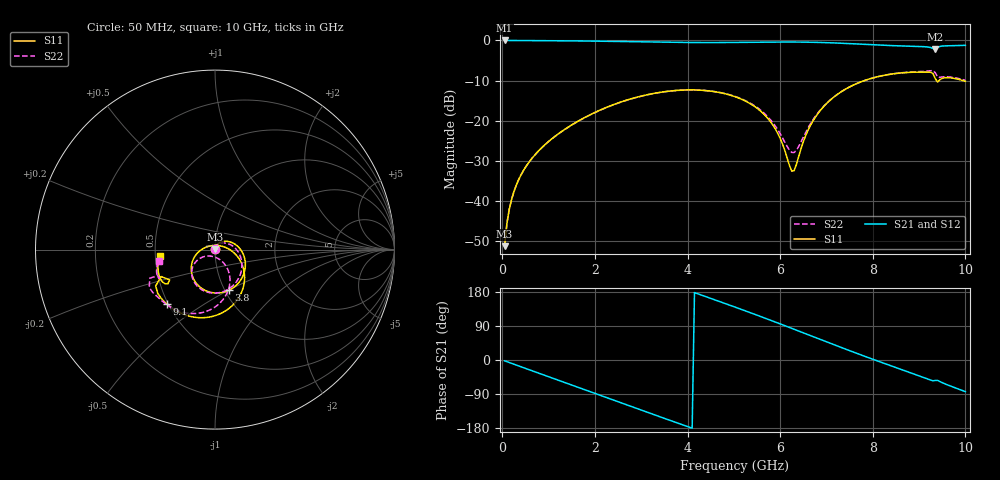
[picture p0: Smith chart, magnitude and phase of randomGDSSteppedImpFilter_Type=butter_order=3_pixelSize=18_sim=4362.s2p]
! freq	dB(S11)	phase(S11)	dB(S12)	phase(S12)
!  dB(S21)	phase(S21)	dB(S22)	phase(S22)
!S-par simulation data
#  GHz  S  DB  R 50
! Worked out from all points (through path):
!   200 points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, 50 MHz to 10 GHz, reference 50 ohm
!   highest |S21| = 0.00 dB at 50 MHz (marker M1); lowest = -2.2 dB at 9.35 GHz (marker M2)
!   group delay of S21, straight-line fit = 124 ps
!   lowest |S11| = -51.2 dB at 50 MHz (marker M3), VSWR 1.01, Z = 50.1 + j0.269 ohm
!   |S11| at or under -10 dB: start of sweep to 7.814 GHz; 9.38 GHz to 9.43 GHz (49.94 MHz wide, 0.531 % of centre); 9.95623 GHz to end of sweep
!   |S22| runs from -51.1 to -7.5 dB; largest |S21 - S12| = 0
!   S11 on the Smith chart (normalised r, x): 50 MHz: 1.00, +0.01; 3.8 GHz: 1.04, -0.50; 9.1 GHz: 0.49, -0.35; 10 GHz: 0.53, -0.04
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0.05  -51.16 76.6  -0.00 -2.2  -0.00 -2.2  -51.10 76.0
0.1  -45.50 80.2  -0.01 -4.5  -0.01 -4.5  -45.48 79.1
0.2  -39.57 79.4  -0.02 -8.9  -0.02 -8.9  -39.57 77.5
0.5  -31.55 69.7  -0.04 -22.1  -0.04 -22.1  -31.57 64.9
1.15  -23.74 44.3  -0.08 -50.8  -0.08 -50.8  -23.77 34.5
1.75  -19.35 19.3  -0.14 -77.3  -0.14 -77.3  -19.39 7.2
2.5  -15.55 -13.4  -0.25 -110.3  -0.25 -110.3  -15.58 -26.1
3.4  -12.92 -53.4  -0.42 -149.7  -0.42 -149.7  -12.94 -64.4
3.8  -12.40 -71.3  -0.48 -167.0  -0.48 -167.0  -12.41 -80.9
4.4  -12.47 -98.3  -0.53 167.0  -0.53 167.0  -12.46 -105.0
5.05  -14.08 -128.6  -0.49 138.6  -0.49 138.6  -14.02 -129.6
5.8  -20.34 -170.5  -0.40 104.6  -0.40 104.6  -19.86 -149.8
6  -24.34 171.5  -0.39 95.3  -0.39 95.3  -23.18 -146.4
6.25  -32.50 104.0  -0.39 83.6  -0.39 83.6  -27.84 -111.3
6.3  -32.41 75.6  -0.39 81.2  -0.39 81.2  -27.87 -98.5
6.7  -20.20 -6.2  -0.45 62.3  -0.45 62.3  -19.88 -56.4
7.5  -11.55 -53.7  -0.79 24.6  -0.79 24.6  -11.56 -77.1
8.35  -8.46 -95.0  -1.26 -13.4  -1.26 -13.4  -8.45 -109.5
9.1  -7.85 -131.8  -1.55 -46.1  -1.55 -46.1  -7.70 -138.1
9.35  -9.50 -153.4  -2.23 -54.1  -2.23 -54.1  -8.04 -156.3
9.5  -9.42 -145.9  -1.39 -59.8  -1.39 -59.8  -9.09 -153.0
10  -10.16 -173.7  -1.22 -83.5  -1.22 -83.5  -9.90 -168.5
